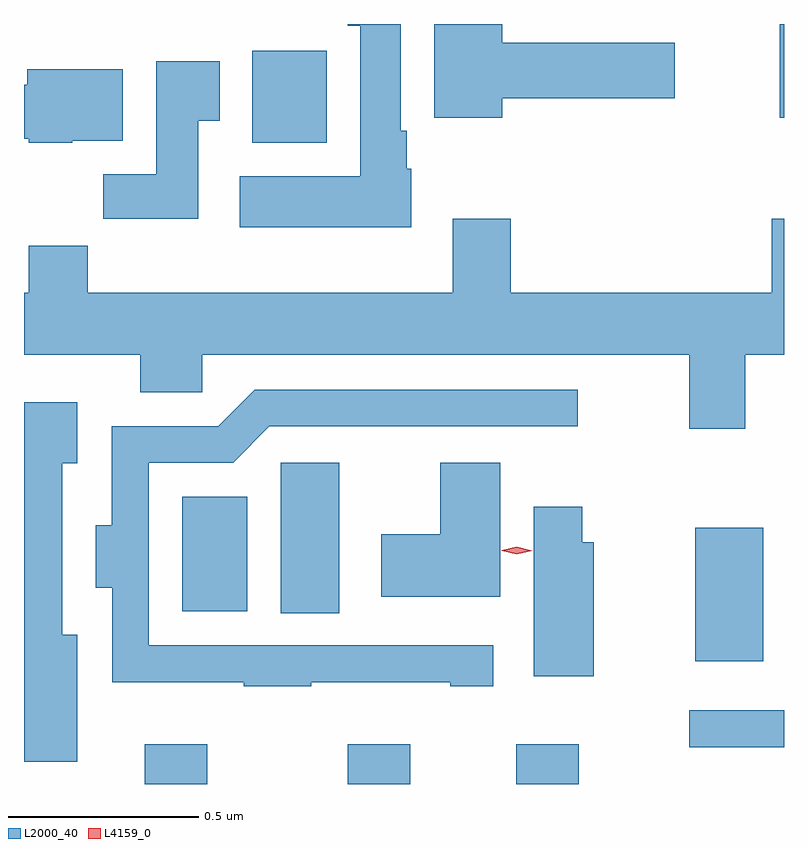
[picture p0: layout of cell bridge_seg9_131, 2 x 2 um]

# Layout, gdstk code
import gdstk
lib = gdstk.Library(unit=1e-6, precision=1e-09)
def R(c, l, rs):  # rectangles x0, y0, x1, y1
    for r in rs: c.add(gdstk.rectangle(r[:2], r[2:], *l))
def P(c, l, *ps):  # polygons
    for p in ps: c.add(gdstk.Polygon(p, *l))
L2000_40 = (2000, 40)
L4159_0 = (4159, 0)

bridge_seg9_131 = lib.new_cell('bridge_seg9_131')
R(bridge_seg9_131, L2000_40, [(425.189,1204.615,425.353,1204.72), (425.723,1204.615,425.887,1204.72), (426.167,1204.615,426.331,1204.72), (426.621,1204.712,426.871,1204.809), (426.638,1204.938,426.817,1205.29), (425.546,1205.065,425.701,1205.46), (425.288,1205.069,425.458,1205.371), (425.471,1206.302,425.668,1206.544), (426.86,1206.368,426.871,1206.615)])
P(bridge_seg9_131, L2000_40, [(425.89,1206.234),(425.878,1206.234),(425.878,1206.334),(425.863,1206.334),(425.863,1206.615),(425.723,1206.615),(425.723,1206.611),(425.756,1206.611),(425.756,1206.214),(425.439,1206.214),(425.439,1206.08),(425.89,1206.08)],
  [(426.13,1206.419),(426.583,1206.419),(426.583,1206.566),(426.13,1206.566),(426.13,1206.615),(425.951,1206.615),(425.951,1206.368),(426.13,1206.368)],
  [(425.329,1206.361),(425.386,1206.361),(425.386,1206.517),(425.219,1206.517),(425.219,1206.22),(425.08,1206.22),(425.08,1206.102),(425.329,1206.102)],
  [(424.998,1206.308),(425.131,1206.308),(425.131,1206.496),(424.88,1206.496),(424.88,1206.455),(424.871,1206.455),(424.871,1206.313),(424.884,1206.313),(424.884,1206.302),(424.998,1206.302)],
  [(426.769,1205.744),(426.871,1205.744),(426.871,1206.103),(426.839,1206.103),(426.839,1205.908),(426.152,1205.908),(426.152,1206.103),(425.999,1206.103),(425.999,1205.908),(425.039,1205.908),(425.039,1206.032),(424.883,1206.032),(424.883,1205.908),(424.871,1205.908),(424.871,1205.744),(425.177,1205.744),(425.177,1205.646),(425.34,1205.646),(425.34,1205.744),(426.622,1205.744),(426.622,1205.55),(426.769,1205.55)],
  [(425.627,1204.883),(425.993,1204.883),(425.993,1204.872),(426.106,1204.872),(426.106,1204.98),(425.199,1204.98),(425.199,1205.46),(425.421,1205.46),(425.517,1205.556),(426.328,1205.556),(426.328,1205.652),(425.478,1205.652),(425.382,1205.556),(425.102,1205.556),(425.102,1205.296),(425.06,1205.296),(425.06,1205.132),(425.103,1205.132),(425.103,1204.883),(425.449,1204.883),(425.449,1204.872),(425.627,1204.872)],
  [(425.011,1205.008),(424.971,1205.008),(424.971,1205.459),(425.011,1205.459),(425.011,1205.62),(424.871,1205.62),(424.871,1204.674),(425.011,1204.674)],
  [(426.124,1205.461),(425.966,1205.461),(425.966,1205.272),(425.811,1205.272),(425.811,1205.108),(426.124,1205.108)],
  [(426.37,1205.251),(426.34,1205.251),(426.34,1205.344),(426.212,1205.344),(426.212,1204.899),(426.37,1204.899)])
P(bridge_seg9_131, L4159_0, [(426.168,1205.219),(426.128,1205.229),(426.128,1205.229),(426.128,1205.23),(426.168,1205.239),(426.209,1205.229),(426.209,1205.229),(426.209,1205.229)])

lib.write_gds('bridge_seg9_131.gds')
